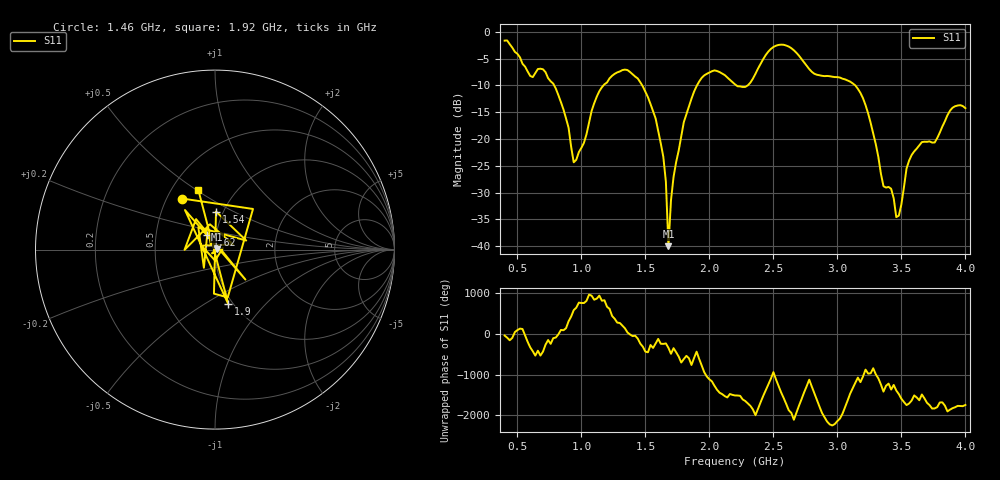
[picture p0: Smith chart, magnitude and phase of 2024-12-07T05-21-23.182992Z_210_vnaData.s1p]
!Created with skrf (http://scikit-rf.org).
# Hz S RI R 50.0
!freq ReS11 ImS11
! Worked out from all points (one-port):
!   181 points, 400 MHz to 4 GHz, reference 50 ohm
!   lowest |S11| = -40.0 dB at 1.68 GHz (marker M1), VSWR 1.02, Z = 51 + j0.316 ohm
!   |S11| at or under -10 dB: 787.5 MHz to 1.172 GHz (384.6 MHz wide, 39.3 % of centre); 1.475 GHz to 1.903 GHz (427.3 MHz wide, 25.3 % of centre); 3.14 GHz to end of sweep (the widest 3 of 4)
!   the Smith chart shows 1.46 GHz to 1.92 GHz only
!   S11 on the Smith chart (normalised r, x): 1.46 GHz: 0.60, +0.38; 1.54 GHz: 0.92, +0.41; 1.62 GHz: 0.91, +0.15; 1.9 GHz: 0.95, -0.64; 1.92 GHz: 0.68, +0.51
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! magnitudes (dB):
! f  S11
! 400 MHz  -1.6
! 600 MHz  -8.2
! 720 MHz  -7.5
! 860 MHz  -14.5
! 940 MHz  -24.3
! 1.14 GHz  -11.1
! 1.3 GHz  -7.4
! 1.46 GHz  -9.4
! 1.54 GHz  -13.5
! 1.62 GHz  -20.8
! 1.66 GHz  -28.0
! 1.68 GHz  -40.0
! 1.7 GHz  -31.4
! 1.76 GHz  -22.1
! 1.9 GHz  -10.1
! 1.92 GHz  -9.3
! 2.2 GHz  -9.8
! 2.3 GHz  -10.0
! 2.5 GHz  -2.8
! 2.66 GHz  -3.4
! 3.1 GHz  -9.3
! 3.22 GHz  -13.7
! 3.36 GHz  -28.8
! 3.42 GHz  -29.3
! 3.46 GHz  -34.6
! 3.56 GHz  -24.0
! 3.9 GHz  -14.1
! 4 GHz  -14.2
